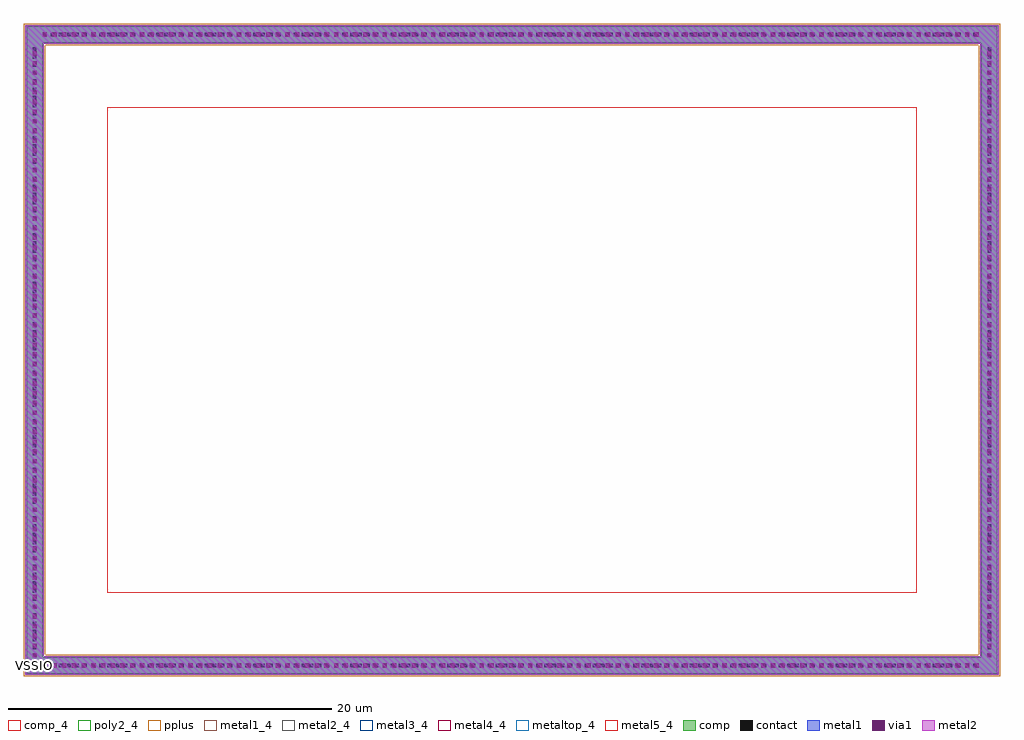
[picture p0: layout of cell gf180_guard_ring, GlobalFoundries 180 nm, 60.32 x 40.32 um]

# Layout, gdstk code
import gdstk
lib = gdstk.Library(unit=1e-6, precision=1e-09)
def R(c, l, rs):  # rectangles x0, y0, x1, y1
    for r in rs: c.add(gdstk.rectangle(r[:2], r[2:], *l))
def A(c, l, x, y, w, h, nx, ny, dx, dy):  # array of equal rectangles
    R(c, l, [(x+i*dx, y+j*dy, x+i*dx+w, y+j*dy+h) for i in range(nx) for j in range(ny)])
comp = (22, 0)
comp_4 = (22, 4)
poly2_4 = (30, 4)
pplus = (31, 0)
contact = (33, 0)
metal1 = (34, 0)
metal1_4 = (34, 4)
via1 = (35, 0)
metal2 = (36, 0)
metal2_4 = (36, 4)
metal3_4 = (42, 4)
metal4_4 = (46, 4)
metaltop_4 = (53, 4)
metal5_4 = (81, 4)

gf180_guard_ring = lib.new_cell('gf180_guard_ring')
R(gf180_guard_ring, comp, [(0,0,60,1), (0,0,1,40), (59,0,60,40), (0,39,60,40)])
R(gf180_guard_ring, comp_4, [(5,5,55,35), (5,5,55,35)])
R(gf180_guard_ring, poly2_4, [(5,5,55,35), (5,5,55,35)])
R(gf180_guard_ring, pplus, [(-0.16,-0.16,60.16,1.16), (-0.16,-0.16,1.16,40.16), (58.84,-0.16,60.16,40.16), (-0.16,38.84,60.16,40.16)])
A(gf180_guard_ring, contact, 1, 0.39, 0.22, 0.22, 116, 2, 0.5, 39)
A(gf180_guard_ring, contact, 0.39, 1, 0.22, 0.22, 1, 76, 0, 0.5)
A(gf180_guard_ring, contact, 59.39, 1, 0.22, 0.22, 1, 76, 0, 0.5)
R(gf180_guard_ring, metal1, [(-0.07,-0.07,60.07,1.07), (-0.07,-0.07,1.07,40.07), (58.93,-0.07,60.07,40.07), (-0.07,38.93,60.07,40.07)])
R(gf180_guard_ring, metal1_4, [(5,5,55,35), (5,5,55,35)])
A(gf180_guard_ring, via1, 1, 0.37, 0.26, 0.26, 97, 2, 0.6, 39)
A(gf180_guard_ring, via1, 0.37, 1, 0.26, 0.26, 1, 63, 0, 0.6)
A(gf180_guard_ring, via1, 59.37, 1, 0.26, 0.26, 1, 63, 0, 0.6)
R(gf180_guard_ring, metal2, [(-0.07,-0.07,60.07,1.07), (-0.07,-0.07,1.07,40.07), (58.93,-0.07,60.07,40.07), (-0.07,38.93,60.07,40.07)])
R(gf180_guard_ring, metal2_4, [(5,5,55,35), (5,5,55,35)])
R(gf180_guard_ring, metal3_4, [(5,5,55,35), (5,5,55,35)])
R(gf180_guard_ring, metal4_4, [(5,5,55,35), (5,5,55,35)])
R(gf180_guard_ring, metaltop_4, [(5,5,55,35), (5,5,55,35)])
R(gf180_guard_ring, metal5_4, [(5,5,55,35), (5,5,55,35)])
gf180_guard_ring.add(gdstk.Label('VSSIO', (0.5,0.5), layer=36, texttype=10))
gf180_guard_ring.add(gdstk.Label('VSSIO', (0.5,0.5), layer=36, texttype=10))

lib.write_gds('gf180_guard_ring.gds')
